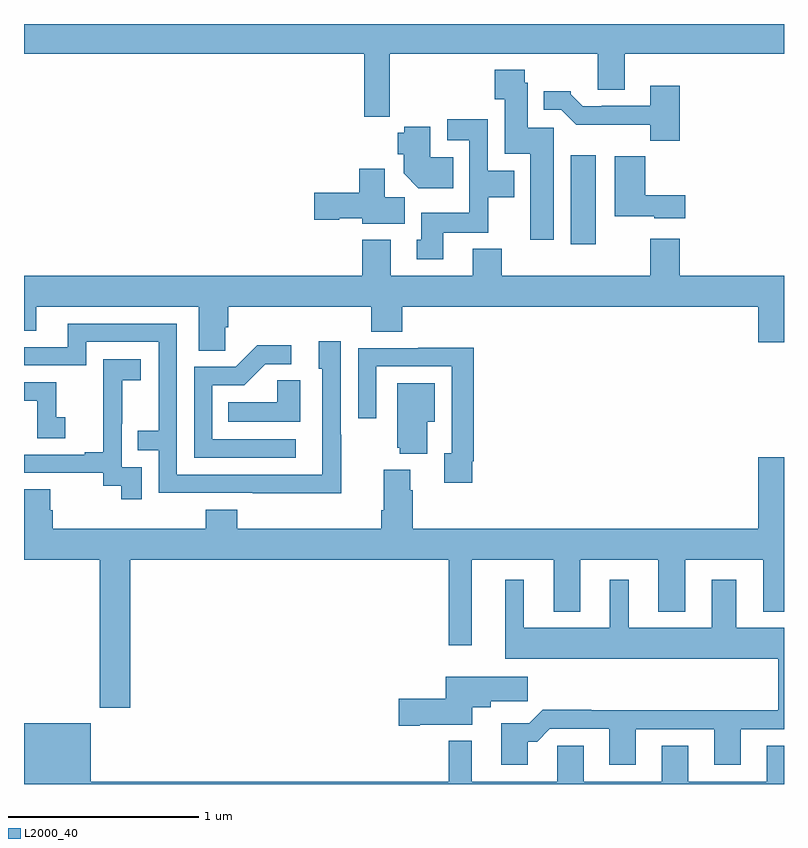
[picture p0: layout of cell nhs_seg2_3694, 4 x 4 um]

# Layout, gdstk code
import gdstk
lib = gdstk.Library(unit=1e-6, precision=1e-09)
def R(c, l, rs):  # rectangles x0, y0, x1, y1
    for r in rs: c.add(gdstk.rectangle(r[:2], r[2:], *l))
def P(c, l, *ps):  # polygons
    for p in ps: c.add(gdstk.Polygon(p, *l))
L2000_40 = (2000, 40)

nhs_seg2_3694 = lib.new_cell('nhs_seg2_3694')
R(nhs_seg2_3694, L2000_40, [(307.877,638.64,308.008,639.109)])
P(nhs_seg2_3694, L2000_40, [(306.926,639.644),(308.021,639.644),(308.021,639.454),(308.161,639.454),(308.161,639.644),(309,639.644),(309,639.8),(305,639.8),(305,639.644),(306.79,639.644),(306.79,639.312),(306.926,639.312)],
  [(307.789,639.255),(307.651,639.255),(307.651,639.492),(307.635,639.492),(307.635,639.559),(307.478,639.559),(307.478,639.403),(307.529,639.403),(307.529,639.116),(307.664,639.116),(307.664,638.664),(307.789,638.664)],
  [(308.45,639.475),(308.297,639.475),(308.297,639.369),(308.041,639.369),(308.041,639.366),(307.942,639.366),(307.878,639.43),(307.878,639.445),(307.736,639.445),(307.736,639.348),(307.827,639.348),(307.906,639.27),(308.295,639.27),(308.295,639.185),(308.45,639.185)],
  [(307.207,638.702),(307.443,638.702),(307.443,638.888),(307.579,638.888),(307.579,639.028),(307.44,639.028),(307.44,639.298),(307.227,639.298),(307.227,639.189),(307.344,639.189),(307.344,638.806),(307.091,638.806),(307.091,638.664),(307.067,638.664),(307.067,638.562),(307.207,638.562)],
  [(307.259,639.1),(307.138,639.1),(307.138,639.258),(307.002,639.258),(307.002,639.228),(306.968,639.228),(306.968,639.114),(306.998,639.114),(306.998,639.014),(307.076,638.936),(307.259,638.936)],
  [(308.479,638.899),(308.27,638.899),(308.27,639.103),(308.108,639.103),(308.108,638.789),(308.316,638.789),(308.316,638.777),(308.479,638.777)],
  [(307.003,638.888),(306.898,638.888),(306.898,639.037),(306.764,639.037),(306.764,638.912),(306.528,638.912),(306.528,638.77),(306.66,638.77),(306.66,638.777),(306.78,638.777),(306.78,638.75),(307.003,638.75)],
  [(306.06,638.203),(306.074,638.203),(306.074,638.312),(306.827,638.312),(306.827,638.179),(306.992,638.179),(306.992,638.312),(308.864,638.312),(308.864,638.124),(309,638.124),(309,638.476),(308.45,638.476),(308.45,638.671),(308.297,638.671),(308.297,638.476),(307.514,638.476),(307.514,638.617),(307.361,638.617),(307.361,638.476),(306.931,638.476),(306.931,638.665),(306.779,638.665),(306.779,638.476),(305,638.476),(305,638.185),(305.065,638.185),(305.065,638.312),(305.921,638.312),(305.921,638.08),(306.06,638.08)],
  [(306.669,637.637),(306.666,637.637),(306.666,638.131),(306.551,638.131),(306.551,637.986),(306.57,637.986),(306.57,637.428),(305.805,637.428),(305.805,638.223),(305.231,638.223),(305.231,638.1),(305,638.1),(305,638.004),(305.328,638.004),(305.328,638.127),(305.709,638.127),(305.709,637.658),(305.599,637.658),(305.599,637.557),(305.709,637.557),(305.709,637.332),(306.205,637.332),(306.205,637.331),(306.669,637.331)],
  [(306.43,637.614),(305.991,637.614),(305.991,637.899),(306.16,637.899),(306.271,638.01),(306.406,638.01),(306.406,638.108),(306.227,638.108),(306.114,637.995),(305.895,637.995),(305.895,637.518),(306.43,637.518)],
  [(307.36,637.498),(307.367,637.498),(307.367,638.096),(307.075,638.096),(307.075,638.094),(306.759,638.094),(306.759,637.725),(306.855,637.725),(306.855,637.998),(307.251,637.998),(307.251,637.542),(307.211,637.542),(307.211,637.386),(307.36,637.386)],
  [(305.619,637.467),(305.514,637.467),(305.514,637.697),(305.516,637.697),(305.516,637.925),(305.614,637.925),(305.614,638.035),(305.416,638.035),(305.416,637.829),(305.417,637.829),(305.417,637.546),(305.321,637.546),(305.321,637.533),(305,637.533),(305,637.437),(305.418,637.437),(305.418,637.369),(305.511,637.369),(305.511,637.299),(305.619,637.299)],
  [(306.454,637.925),(306.333,637.925),(306.333,637.81),(306.076,637.81),(306.076,637.706),(306.454,637.706)],
  [(305.218,637.729),(305.169,637.729),(305.169,637.914),(305,637.914),(305,637.818),(305.07,637.818),(305.07,637.62),(305.218,637.62)],
  [(307.123,637.706),(307.162,637.706),(307.162,637.909),(306.965,637.909),(306.965,637.569),(306.977,637.569),(306.977,637.538),(307.123,637.538)],
  [(305.558,636.98),(307.236,636.98),(307.236,636.531),(307.357,636.531),(307.357,636.98),(307.787,636.98),(307.787,636.707),(307.927,636.707),(307.927,636.98),(308.339,636.98),(308.339,636.707),(308.479,636.707),(308.479,636.98),(308.891,636.98),(308.891,636.707),(309,636.707),(309,637.519),(308.864,637.519),(308.864,637.144),(307.046,637.144),(307.046,637.346),(307.033,637.346),(307.033,637.453),(306.893,637.453),(306.893,637.24),(306.881,637.24),(306.881,637.144),(306.122,637.144),(306.122,637.243),(305.957,637.243),(305.957,637.144),(305.15,637.144),(305.15,637.242),(305.137,637.242),(305.137,637.352),(305,637.352),(305,636.98),(305.398,636.98),(305.398,636.201),(305.558,636.201)],
  [(307.651,636.023),(307.7,636.023),(307.767,636.09),(308.081,636.09),(308.081,635.901),(308.221,635.901),(308.221,636.087),(308.633,636.087),(308.633,635.901),(308.773,635.901),(308.773,636.087),(309,636.087),(309,636.622),(308.749,636.622),(308.749,636.874),(308.621,636.874),(308.621,636.622),(308.182,636.622),(308.182,636.874),(308.084,636.874),(308.084,636.622),(307.63,636.622),(307.63,636.874),(307.532,636.874),(307.532,636.458),(308.969,636.458),(308.969,636.188),(307.985,636.188),(307.985,636.191),(307.73,636.191),(307.66,636.121),(307.511,636.121),(307.511,635.901),(307.651,635.901)],
  [(307.084,636.113),(307.36,636.113),(307.36,636.203),(307.456,636.203),(307.456,636.235),(307.651,636.235),(307.651,636.364),(307.22,636.364),(307.22,636.248),(306.972,636.248),(306.972,636.106),(307.084,636.106)],
  [(309,636.002),(308.909,636.002),(308.909,635.812),(308.497,635.812),(308.497,636.002),(308.357,636.002),(308.357,635.812),(307.945,635.812),(307.945,636.002),(307.806,636.002),(307.806,635.812),(307.357,635.812),(307.357,636.028),(307.236,636.028),(307.236,635.812),(305.35,635.812),(305.35,636.121),(305,636.121),(305,635.8),(309,635.8)])

lib.write_gds('nhs_seg2_3694.gds')
